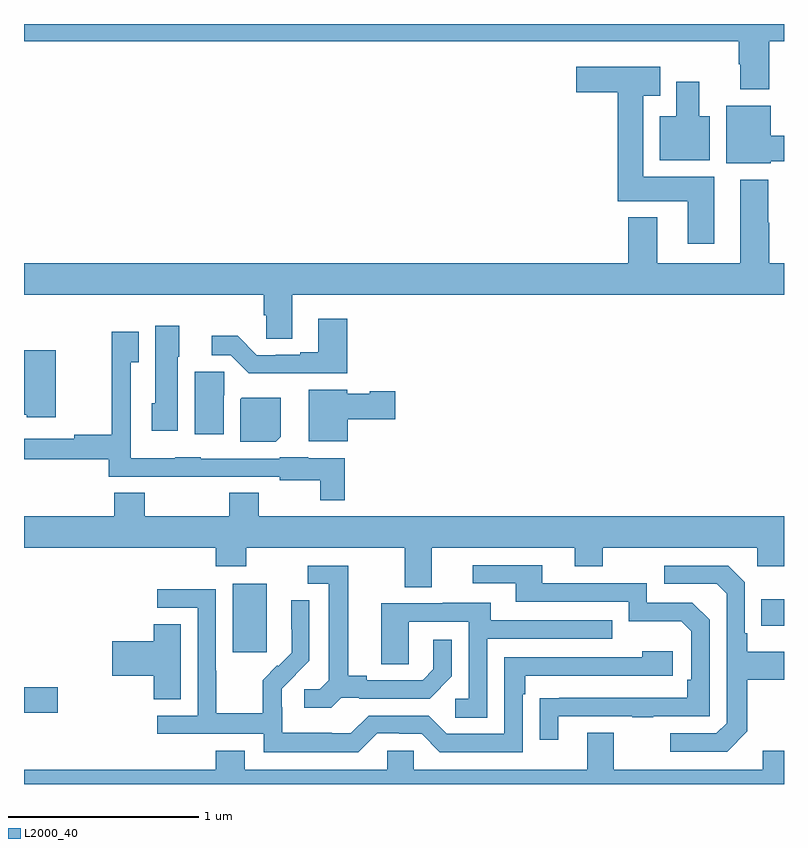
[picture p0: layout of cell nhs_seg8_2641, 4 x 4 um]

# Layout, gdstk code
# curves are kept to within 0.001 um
import gdstk
lib = gdstk.Library(unit=1e-6, precision=1e-09)
def R(c, l, rs):  # rectangles x0, y0, x1, y1
    for r in rs: c.add(gdstk.rectangle(r[:2], r[2:], *l))
def P(c, l, *ps):  # polygons
    for p in ps: c.add(gdstk.Polygon(p, *l))
L2000_40 = (2000, 40)

nhs_seg8_2641 = lib.new_cell('nhs_seg8_2641')
R(nhs_seg8_2641, L2000_40, [(277,1138.274,277.177,1138.409), (278.099,1138.593,278.278,1138.954), (280.879,1138.733,281,1138.873)])
P(nhs_seg8_2641, L2000_40, [(280.922,1141.808),(281,1141.808),(281,1141.9),(277,1141.9),(277,1141.808),(280.762,1141.808),(280.762,1141.688),(280.769,1141.688),(280.769,1141.556),(280.922,1141.556)],
  [(280.633,1141.096),(280.258,1141.096),(280.258,1141.523),(280.348,1141.523),(280.348,1141.675),(279.906,1141.675),(279.906,1141.541),(280.124,1141.541),(280.124,1140.968),(280.493,1140.968),(280.493,1140.744),(280.633,1140.744)],
  [(280.609,1141.414),(280.555,1141.414),(280.555,1141.597),(280.433,1141.597),(280.433,1141.414),(280.346,1141.414),(280.346,1141.184),(280.609,1141.184)],
  [(280.93,1141.177),(281,1141.177),(281,1141.313),(280.93,1141.313),(280.93,1141.471),(280.697,1141.471),(280.697,1141.166),(280.93,1141.166)],
  [(278.413,1140.476),(281,1140.476),(281,1140.64),(280.922,1140.64),(280.922,1140.855),(280.917,1140.855),(280.917,1141.081),(280.769,1141.081),(280.769,1140.64),(280.333,1140.64),(280.333,1140.883),(280.181,1140.883),(280.181,1140.64),(277,1140.64),(277,1140.476),(278.261,1140.476),(278.261,1140.366),(278.274,1140.366),(278.274,1140.244),(278.413,1140.244)],
  [(278.702,1140.349),(278.549,1140.349),(278.549,1140.172),(278.453,1140.172),(278.453,1140.159),(278.326,1140.159),(278.326,1140.156),(278.226,1140.156),(278.124,1140.259),(277.989,1140.259),(277.989,1140.156),(278.088,1140.156),(278.183,1140.062),(278.702,1140.062)],
  [(277.81,1140.15),(277.816,1140.15),(277.816,1140.313),(277.691,1140.313),(277.691,1139.904),(277.673,1139.904),(277.673,1139.76),(277.81,1139.76)],
  [(278.687,1139.614),(278.496,1139.614),(278.496,1139.62),(278.346,1139.62),(278.346,1139.613),(277.929,1139.613),(277.929,1139.62),(277.797,1139.62),(277.797,1139.614),(277.563,1139.614),(277.563,1140.119),(277.603,1140.119),(277.603,1140.28),(277.462,1140.28),(277.462,1139.738),(277.264,1139.738),(277.264,1139.718),(277,1139.718),(277,1139.61),(277.447,1139.61),(277.447,1139.517),(277.697,1139.517),(277.697,1139.516),(277.929,1139.516),(277.929,1139.517),(278.346,1139.517),(278.346,1139.498),(278.559,1139.498),(278.559,1139.393),(278.687,1139.393)],
  [(277.168,1140.184),(277,1140.184),(277,1139.844),(277.014,1139.844),(277.014,1139.831),(277.168,1139.831)],
  [(278.05,1139.946),(278.054,1139.946),(278.054,1140.069),(277.898,1140.069),(277.898,1139.742),(278.05,1139.742)],
  [(278.704,1139.819),(278.953,1139.819),(278.953,1139.966),(278.82,1139.966),(278.82,1139.953),(278.7,1139.953),(278.7,1139.974),(278.498,1139.974),(278.498,1139.705),(278.704,1139.705)],
  [(278.35,1139.728),(278.35,1139.932),(278.146,1139.932),(278.138,1139.924),(278.138,1139.702),(278.324,1139.702)],
  [(279.145,1139.144),(279.899,1139.144),(279.899,1139.045),(280.047,1139.045),(280.047,1139.144),(280.86,1139.144),(280.86,1139.045),(281,1139.045),(281,1139.308),(278.235,1139.308),(278.235,1139.432),(278.08,1139.432),(278.08,1139.308),(277.635,1139.308),(277.635,1139.432),(277.475,1139.432),(277.475,1139.308),(277,1139.308),(277,1139.144),(278.009,1139.144),(278.009,1139.045),(278.169,1139.045),(278.169,1139.144),(279.005,1139.144),(279.005,1138.936),(279.145,1138.936)],
  [(279.811,1138.257),(280.201,1138.257),(280.201,1138.252),(280.313,1138.252),(280.313,1138.257),(280.608,1138.257),(280.608,1138.764),(280.518,1138.854),(280.278,1138.854),(280.278,1138.956),(279.727,1138.956),(279.727,1139.052),(279.363,1139.052),(279.363,1138.956),(279.587,1138.956),(279.587,1138.86),(280.182,1138.86),(280.182,1138.757),(280.459,1138.757),(280.512,1138.704),(280.512,1138.45),(280.492,1138.45),(280.492,1138.353),(279.715,1138.352),(279.715,1138.134),(279.811,1138.134)],
  [(278.67,1138.353),(278.764,1138.353),(278.764,1138.35),(279.136,1138.35),(279.252,1138.466),(279.252,1138.66),(279.155,1138.66),(279.155,1138.503),(279.098,1138.446),(278.803,1138.446),(278.803,1138.469),(278.707,1138.469),(278.707,1139.049),(278.493,1139.049),(278.493,1138.953),(278.603,1138.953),(278.603,1138.445),(278.556,1138.398),(278.475,1138.398),(278.475,1138.301),(278.618,1138.301)],
  [(280.807,1138.177),(280.807,1138.45),(281,1138.45),(281,1138.597),(280.807,1138.597),(280.807,1138.693),(280.794,1138.693),(280.794,1138.962),(280.707,1139.049),(280.371,1139.049),(280.371,1138.953),(280.647,1138.953),(280.698,1138.902),(280.698,1138.221),(280.644,1138.167),(280.401,1138.167),(280.401,1138.071),(280.701,1138.071)],
  [(278.859,1138.167),(278.975,1138.167),(278.975,1138.164),(279.093,1138.164),(279.189,1138.068),(279.624,1138.068),(279.624,1138.373),(279.637,1138.373),(279.637,1138.47),(280.414,1138.47),(280.414,1138.6),(280.253,1138.6),(280.253,1138.566),(279.528,1138.566),(279.528,1138.164),(279.225,1138.164),(279.129,1138.26),(278.814,1138.26),(278.721,1138.167),(278.621,1138.167),(278.621,1138.171),(278.358,1138.171),(278.358,1138.305),(278.356,1138.305),(278.356,1138.402),(278.502,1138.55),(278.502,1138.868),(278.406,1138.868),(278.406,1138.714),(278.408,1138.714),(278.408,1138.592),(278.337,1138.521),(278.334,1138.524),(278.257,1138.447),(278.257,1138.273),(278.013,1138.273),(278.013,1138.496),(278.01,1138.496),(278.01,1138.926),(277.701,1138.926),(277.701,1138.827),(277.914,1138.827),(277.914,1138.26),(277.701,1138.26),(277.701,1138.164),(278.262,1138.164),(278.262,1138.067),(278.759,1138.067)],
  [(279.438,1138.665),(280.097,1138.665),(280.097,1138.761),(279.457,1138.761),(279.457,1138.855),(279.203,1138.855),(279.203,1138.851),(278.879,1138.851),(278.879,1138.531),(279.024,1138.531),(279.024,1138.755),(279.342,1138.755),(279.342,1138.35),(279.27,1138.35),(279.27,1138.249),(279.438,1138.249)],
  [(277.825,1138.742),(277.682,1138.742),(277.682,1138.652),(277.464,1138.652),(277.464,1138.469),(277.682,1138.469),(277.682,1138.345),(277.825,1138.345)],
  [(278.161,1138.075),(278.009,1138.075),(278.009,1137.976),(277,1137.976),(277,1137.9),(281,1137.9),(281,1138.075),(280.889,1138.075),(280.889,1137.976),(280.105,1137.976),(280.105,1138.171),(279.965,1138.171),(279.965,1137.976),(279.051,1137.976),(279.051,1138.074),(278.913,1138.074),(278.913,1137.976),(278.161,1137.976)])

lib.write_gds('nhs_seg8_2641.gds')
